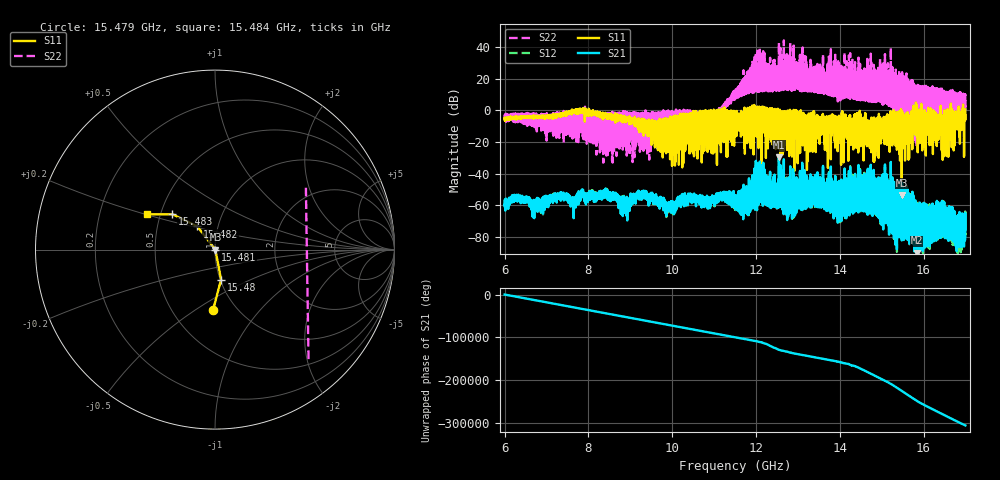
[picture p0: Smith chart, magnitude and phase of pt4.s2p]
#  HZ  S  RI  R  50.00
! Rohde & Schwarz Vector Network Analyzer
! Rohde-Schwarz,ZNA67-2Port,1332450062101215,3.01
! Created: UTC 10/15/2026, 12:17:27 PM
! freq[Hz]  re:S11  im:S11  re:S21  im:S21  re:S12  im:S12  re:S22  im:S22
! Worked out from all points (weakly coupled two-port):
!   11001 points, 6 GHz to 17 GHz, reference 50 ohm
!   highest |S21| = -29.63 dB at 12.549 GHz (marker M1); lowest = -89.9 dB at 15.833 GHz (marker M2)
!   lowest |S11| = -53.3 dB at 15.481 GHz (marker M3), VSWR 1.00, Z = 50.2 - j0.00573 ohm
!   |S11| at or under -10 dB: 9.54154 GHz to 9.556652 GHz (15.11 MHz wide, 0.158 % of centre); 14.07891 GHz to 14.0932 GHz (14.28 MHz wide, 0.101 % of centre); 14.78637 GHz to 14.80136 GHz (14.98 MHz wide, 0.101 % of centre) (the widest 3 of 574)
!   |S22| runs from -33.0 to 44.3 dB; largest |S21 - S12| = 0.003
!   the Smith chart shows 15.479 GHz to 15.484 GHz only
!   S11 on the Smith chart (normalised r, x): 15.479 GHz: 0.78, -0.60; 15.48 GHz: 1.01, -0.35; 15.481 GHz: 1.00, -0.00; 15.482 GHz: 0.80, +0.21; 15.483 GHz: 0.58, +0.25; 15.484 GHz: 0.42, +0.20
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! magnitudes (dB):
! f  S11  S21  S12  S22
! 6 GHz  -5.0  -59.6  -59.5  -5.6
! 7.834 GHz  -0.7  -54.4  -54.0  -4.5
! 8.913 GHz  -7.0  -61.5  -61.2  -3.6
! 9.667 GHz  -8.1  -60.1  -60.4  -2.3
! 9.887 GHz  -5.8  -62.0  -62.9  -2.9
! 10.411 GHz  -2.5  -54.9  -55.2  -4.8
! 10.835 GHz  -11.4  -59.3  -59.2  -2.9
! 11.5 GHz  -3.8  -59.0  -59.2  8.8
! 12.549 GHz  -3.9  -29.6  -29.6  42.9
! 13.334 GHz  -14.8  -57.6  -58.1  15.7
! 13.96 GHz  -19.4  -66.7  -67.0  9.3
! 14.513 GHz  -8.8  -56.7  -56.5  12.4
! 15.167 GHz  -12.8  -68.2  -67.9  5.2
! 15.479 GHz  -9.4  -60.7  -61.1  9.9
! 15.48 GHz  -15.4  -66.1  -67.0  5.9
! 15.481 GHz  -53.3  -72.1  -71.9  1.8
! 15.482 GHz  -15.8  -82.1  -81.6  -4.3
! 15.483 GHz  -10.2  -77.2  -77.3  -1.8
! 15.484 GHz  -7.4  -72.5  -71.9  1.2
! 15.833 GHz  3.6  -89.9  -89.8  -22.8
! 16.571 GHz  0.7  -74.2  -75.2  -1.6
! 17 GHz  0.7  -75.2  -78.5  1.8
